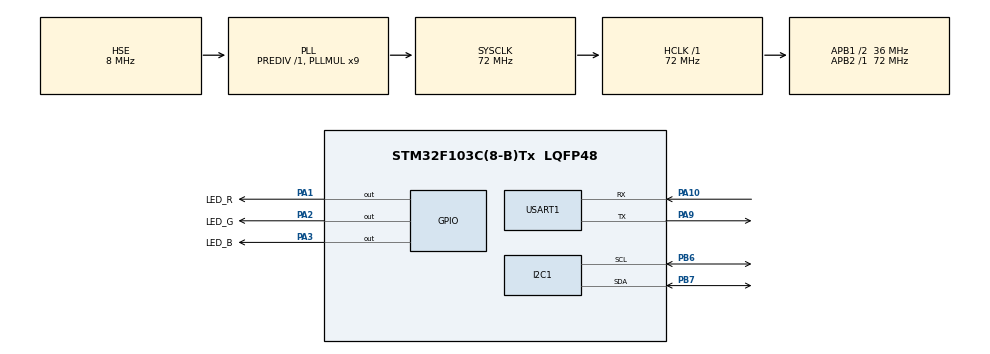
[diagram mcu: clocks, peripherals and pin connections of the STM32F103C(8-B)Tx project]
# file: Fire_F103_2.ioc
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FREERTOS.Tasks01=ledTask,0,256,StartLEDTask,Default,NULL,Dynamic,NULL,NULL;uartTask,-2,128,StartUartTask,Default,NULL,Dynamic,NULL,NULL;sensorTask,1,128,StartSensorTask,Default,NULL,Dynamic,NULL,NULL
Mcu.Family=STM32F1
Mcu.Name=STM32F103C(8-B)Tx
Mcu.Package=LQFP48
NVIC.PriorityGroup=NVIC_PRIORITYGROUP_4
PA1.GPIO_Label=LED_R
PA1.PinState=GPIO_PIN_SET
PA1.Signal=GPIO_Output
PA10.Mode=Asynchronous
PA10.Signal=USART1_RX
PA13.Mode=Serial_Wire
PA13.Signal=SYS_JTMS-SWDIO
PA14.Mode=Serial_Wire
PA14.Signal=SYS_JTCK-SWCLK
PA2.GPIO_Label=LED_G
PA2.PinState=GPIO_PIN_SET
PA2.Signal=GPIO_Output
PA3.GPIO_Label=LED_B
PA3.PinState=GPIO_PIN_SET
PA3.Signal=GPIO_Output
PA9.Mode=Asynchronous
PA9.Signal=USART1_TX
PB6.Mode=I2C
PB6.Signal=I2C1_SCL
PB7.Mode=I2C
PB7.Signal=I2C1_SDA
PC14-OSC32_IN.Mode=LSE-External-Oscillator
PC14-OSC32_IN.Signal=RCC_OSC32_IN
PC15-OSC32_OUT.Mode=LSE-External-Oscillator
PC15-OSC32_OUT.Signal=RCC_OSC32_OUT
PD0-OSC_IN.Mode=HSE-External-Oscillator
PD0-OSC_IN.Signal=RCC_OSC_IN
PD1-OSC_OUT.Mode=HSE-External-Oscillator
PD1-OSC_OUT.Signal=RCC_OSC_OUT
ProjectManager.HeapSize=0x200
ProjectManager.StackSize=0x400
ProjectManager.TargetToolchain=MDK-ARM V5.32
RCC.AHBFreq_Value=72000000
RCC.APB1CLKDivider=RCC_HCLK_DIV2
RCC.APB1Freq_Value=36000000
RCC.APB1TimFreq_Value=72000000
RCC.APB2Freq_Value=72000000
RCC.APB2TimFreq_Value=72000000
RCC.HCLKFreq_Value=72000000
RCC.PLLMUL=RCC_PLL_MUL9
RCC.PLLSourceVirtual=RCC_PLLSOURCE_HSE
RCC.SYSCLKFreq_VALUE=72000000
RCC.SYSCLKSource=RCC_SYSCLKSOURCE_PLLCLK
RCC.USBFreq_Value=72000000
USART1.VirtualMode=VM_ASYNC
VP_FREERTOS_VS_CMSIS_V1.Mode=CMSIS_V1
board=custom

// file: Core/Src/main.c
/* USER CODE BEGIN Header */
/**
  ******************************************************************************
  * @file           : main.c
  * @brief          : Main program body
  ******************************************************************************
  * @attention
  *
  * Copyright (c) 2026 STMicroelectronics.
  * All rights reserved.
  *
  * This software is licensed under terms that can be found in the LICENSE file
  * in the root directory of this software component.
  * If no LICENSE file comes with this software, it is provided AS-IS.
  *
  ******************************************************************************
  */
/* USER CODE END Header */
#include "main.h"
#include "cmsis_os.h"
#include "i2c.h"
#include "usart.h"
#include "gpio.h"

/* USER CODE BEGIN Includes */
#include "bsp_i2c_oled.h"
#include "bsp_dwt.h"
#include "bsp_dht11.h"

/* USER CODE END Includes */

/* USER CODE BEGIN PV */
volatile uint8_t g_oled_ready = 0U;

/* USER CODE END PV */

void SystemClock_Config(void);
void MX_FREERTOS_Init(void);
/* USER CODE BEGIN PFP */
static void Error_BlinkLoop(void);

/* USER CODE END PFP */

/* USER CODE BEGIN 0 */
static void Error_BlinkLoop(void)
{
//  GPIO_InitTypeDef GPIO_InitStruct = {0};

//  __HAL_RCC_GPIOA_CLK_ENABLE();
//  __HAL_RCC_GPIOC_CLK_ENABLE();

//  GPIO_InitStruct.Pin = LED_R_Pin | LED_G_Pin | LED_B_Pin;
//  GPIO_InitStruct.Mode = GPIO_MODE_OUTPUT_PP;
//  GPIO_InitStruct.Pull = GPIO_NOPULL;
//  GPIO_InitStruct.Speed = GPIO_SPEED_FREQ_LOW;
//  HAL_GPIO_Init(GPIOA, &GPIO_InitStruct);

//  GPIO_InitStruct.Pin = GPIO_PIN_13;
//  HAL_GPIO_Init(GPIOC, &GPIO_InitStruct);

  while (1)
  {
    HAL_GPIO_TogglePin(GPIOA, LED_R_Pin | LED_G_Pin | LED_B_Pin);
    HAL_GPIO_TogglePin(GPIOC, GPIO_PIN_13);
    for (volatile uint32_t delay = 0; delay < 250000U; delay++)
    {
      __NOP();
    }
	}
}

/* USER CODE END 0 */

int main(void)
{

  /* MCU Configuration--------------------------------------------------------*/

  /* Reset of all peripherals, Initializes the Flash interface and the Systick. */
  HAL_Init();

  MX_GPIO_Init();

  /* Configure the system clock */
  SystemClock_Config();

  /* Initialize all configured peripherals */
  MX_USART1_UART_Init();
  MX_I2C1_Init();
  DWT_Init();
  DHT11_GPIO_Config();
  /* USER CODE BEGIN 2 */
  if (OLED_Init() == SUCCESS)
  {
    g_oled_ready = 1U;
    OLED_ShowString_F8X16(0,0, (uint8_t*)"DHT11");
    OLED_ShowString_F8X16(1,0, (uint8_t*)"WAIT DATA");
  }
  /* USER CODE END 2 */

  /* Call init function for freertos objects (in cmsis_os2.c) */
  MX_FREERTOS_Init();

  /* Start scheduler */
  osKernelStart();

  /* We should never get here as control is now taken by the scheduler */

  /* Infinite loop */
  while (1)
  {

  }
}

void SystemClock_Config(void)
{
  RCC_OscInitTypeDef RCC_OscInitStruct = {0};
  RCC_ClkInitTypeDef RCC_ClkInitStruct = {0};

  /** Initializes the RCC Oscillators according to the specified parameters
  * in the RCC_OscInitTypeDef structure.
  */
  RCC_OscInitStruct.OscillatorType = RCC_OSCILLATORTYPE_HSE;
  RCC_OscInitStruct.HSEState = RCC_HSE_ON;
  RCC_OscInitStruct.HSEPredivValue = RCC_HSE_PREDIV_DIV1;
  RCC_OscInitStruct.HSIState = RCC_HSI_ON;
  RCC_OscInitStruct.PLL.PLLState = RCC_PLL_ON;
  RCC_OscInitStruct.PLL.PLLSource = RCC_PLLSOURCE_HSE;
  RCC_OscInitStruct.PLL.PLLMUL = RCC_PLL_MUL9;
  if (HAL_RCC_OscConfig(&RCC_OscInitStruct) == HAL_OK)
  {
    /** Initializes the CPU, AHB and APB buses clocks
    */
    RCC_ClkInitStruct.ClockType = RCC_CLOCKTYPE_HCLK|RCC_CLOCKTYPE_SYSCLK
                                |RCC_CLOCKTYPE_PCLK1|RCC_CLOCKTYPE_PCLK2;
    RCC_ClkInitStruct.SYSCLKSource = RCC_SYSCLKSOURCE_PLLCLK;
    RCC_ClkInitStruct.AHBCLKDivider = RCC_SYSCLK_DIV1;
    RCC_ClkInitStruct.APB1CLKDivider = RCC_HCLK_DIV2;
    RCC_ClkInitStruct.APB2CLKDivider = RCC_HCLK_DIV1;

    if (HAL_RCC_ClockConfig(&RCC_ClkInitStruct, FLASH_LATENCY_2) == HAL_OK)
    {
      return;
    }
  }

  HAL_RCC_DeInit();

  RCC_OscInitStruct.OscillatorType = RCC_OSCILLATORTYPE_HSI;
  RCC_OscInitStruct.HSEState = RCC_HSE_OFF;
  RCC_OscInitStruct.HSEPredivValue = RCC_HSE_PREDIV_DIV1;
  RCC_OscInitStruct.HSIState = RCC_HSI_ON;
  RCC_OscInitStruct.HSICalibrationValue = RCC_HSICALIBRATION_DEFAULT;
  RCC_OscInitStruct.PLL.PLLState = RCC_PLL_ON;
  RCC_OscInitStruct.PLL.PLLSource = RCC_PLLSOURCE_HSI_DIV2;
  RCC_OscInitStruct.PLL.PLLMUL = RCC_PLL_MUL16;
  if (HAL_RCC_OscConfig(&RCC_OscInitStruct) != HAL_OK)
  {
    Error_Handler();
  }

  RCC_ClkInitStruct.ClockType = RCC_CLOCKTYPE_HCLK|RCC_CLOCKTYPE_SYSCLK
                              |RCC_CLOCKTYPE_PCLK1|RCC_CLOCKTYPE_PCLK2;
  RCC_ClkInitStruct.SYSCLKSource = RCC_SYSCLKSOURCE_PLLCLK;
  RCC_ClkInitStruct.AHBCLKDivider = RCC_SYSCLK_DIV1;
  RCC_ClkInitStruct.APB1CLKDivider = RCC_HCLK_DIV2;
  RCC_ClkInitStruct.APB2CLKDivider = RCC_HCLK_DIV1;
  if (HAL_RCC_ClockConfig(&RCC_ClkInitStruct, FLASH_LATENCY_2) != HAL_OK)
  {
    Error_Handler();
  }
}

void Error_Handler(void)
{
  /* USER CODE BEGIN Error_Handler_Debug */
  /* User can add his own implementation to report the HAL error return state */
  __disable_irq();
  Error_BlinkLoop();
  /* USER CODE END Error_Handler_Debug */
}

#ifdef  USE_FULL_ASSERT
/**
  * @brief  Reports the name of the source file and the source line number
  *         where the assert_param error has occurred.
  * @param  file: pointer to the source file name
  * @param  line: assert_param error line source number
  * @retval None
  */
void assert_failed(uint8_t *file, uint32_t line)
{
  /* USER CODE BEGIN 6 */
  (void)file;
  (void)line;
  /* USER CODE END 6 */
}
#endif /* USE_FULL_ASSERT */

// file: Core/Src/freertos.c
/* USER CODE BEGIN Header */
/**
  ******************************************************************************
  * File Name          : freertos.c
  * Description        : Code for freertos applications
  ******************************************************************************
  * @attention
  *
  * Copyright (c) 2026 STMicroelectronics.
  * All rights reserved.
  *
  * This software is licensed under terms that can be found in the LICENSE file
  * in the root directory of this software component.
  * If no LICENSE file comes with this software, it is provided AS-IS.
  *
  ******************************************************************************
  */
/* USER CODE END Header */

#include "FreeRTOS.h"
#include "task.h"
#include "main.h"
#include "cmsis_os.h"

/* USER CODE BEGIN Includes */
#include "gpio.h"
#include "usart.h"
#include "i2c.h"
#include "bsp_i2c_oled.h"
#include <string.h>
#include <stdio.h>
#include "bsp_dht11.h"

/* USER CODE END Includes */

/* USER CODE BEGIN PTD */
	typedef struct
	{
			uint8_t temp_int;
			uint8_t temp_dec;
			uint8_t humi_int;
			uint8_t humi_dec;
			uint8_t ready;
			uint8_t valid;
			uint32_t update_count;							//记录成功采集了多少次
			uint32_t error_count;								//记录失败了多少次
	} SensorData;
/* USER CODE END PTD */

/* USER CODE BEGIN Variables */
volatile SensorData g_sensor_data = {0};
extern volatile uint8_t g_oled_ready;
static StaticTask_t ledTaskControlBlock;
static StackType_t ledTaskStack[256];
static StaticTask_t uartTaskControlBlock;
static StackType_t uartTaskStack[256];
static StaticTask_t sensorTaskControlBlock;
static StackType_t sensorTaskStack[256];
/* USER CODE END Variables */
osThreadId ledTaskHandle;
osThreadId uartTaskHandle;
osThreadId sensorTaskHandle;

/* USER CODE BEGIN FunctionPrototypes */
static void Serial_SendText(const char *text);

/* USER CODE END FunctionPrototypes */

void StartLEDTask(void const * argument);
void StartUartTask(void const * argument);
void StartSensorTask(void const * argument);

void MX_FREERTOS_Init(void); /* (MISRA C 2004 rule 8.1) */

/* GetIdleTaskMemory prototype (linked to static allocation support) */
void vApplicationGetIdleTaskMemory( StaticTask_t **ppxIdleTaskTCBBuffer, StackType_t **ppxIdleTaskStackBuffer, uint32_t *pulIdleTaskStackSize );

/* USER CODE BEGIN GET_IDLE_TASK_MEMORY */
static StaticTask_t xIdleTaskTCBBuffer;
static StackType_t xIdleStack[configMINIMAL_STACK_SIZE];

void vApplicationGetIdleTaskMemory( StaticTask_t **ppxIdleTaskTCBBuffer, StackType_t **ppxIdleTaskStackBuffer, uint32_t *pulIdleTaskStackSize )
{
  *ppxIdleTaskTCBBuffer = &xIdleTaskTCBBuffer;
  *ppxIdleTaskStackBuffer = &xIdleStack[0];
  *pulIdleTaskStackSize = configMINIMAL_STACK_SIZE;
}

static void Serial_SendText(const char *text)
{
  if (text == NULL)
  {
    return;
  }

  HAL_UART_Transmit(&huart1, (uint8_t *)text, (uint16_t)strlen(text), 100);
}
/* USER CODE END GET_IDLE_TASK_MEMORY */

void MX_FREERTOS_Init(void) {

  /* Create the thread(s) */
  /* definition and creation of sensorTask */
  osThreadStaticDef(sensorTask, StartSensorTask, osPriorityHigh, 0, 256, sensorTaskStack, &sensorTaskControlBlock);
  sensorTaskHandle = osThreadCreate(osThread(sensorTask), NULL);
  if (sensorTaskHandle == NULL)
  {
    Error_Handler();
  }

  /* definition and creation of ledTask */
  osThreadStaticDef(ledTask, StartLEDTask, osPriorityNormal, 0, 256, ledTaskStack, &ledTaskControlBlock);
  ledTaskHandle = osThreadCreate(osThread(ledTask), NULL);
  if (ledTaskHandle == NULL)
  {
    Error_Handler();
  }

  /* definition and creation of uartTask */
  osThreadStaticDef(uartTask, StartUartTask, osPriorityNormal, 0, 256, uartTaskStack, &uartTaskControlBlock);
  uartTaskHandle = osThreadCreate(osThread(uartTask), NULL);
  if (uartTaskHandle == NULL)
  {
    Error_Handler();
  }

}

void StartLEDTask(void const * argument)
{
    char temp_buf[20];
    char humi_buf[20];
		char cnt_buf[20];
		char err_buf[20];
    SensorData sensor_snapshot;

  /* USER CODE BEGIN StartLEDTask */
  (void)argument;
  /* Infinite loop */
  for(;;)
    {
        taskENTER_CRITICAL();
        sensor_snapshot.temp_int = g_sensor_data.temp_int;
        sensor_snapshot.temp_dec = g_sensor_data.temp_dec;
        sensor_snapshot.humi_int = g_sensor_data.humi_int;
        sensor_snapshot.humi_dec = g_sensor_data.humi_dec;
        sensor_snapshot.ready = g_sensor_data.ready;
        sensor_snapshot.valid = g_sensor_data.valid;
				sensor_snapshot.update_count=g_sensor_data.update_count;
				sensor_snapshot.error_count=g_sensor_data.error_count;
        taskEXIT_CRITICAL();

        HAL_GPIO_TogglePin(GPIOA, LED_R_Pin);
        HAL_GPIO_TogglePin(GPIOC, GPIO_PIN_13);

        if (g_oled_ready)
        {
            OLED_CLS();
            if (sensor_snapshot.ready == 0U)
            {
                OLED_ShowString_F8X16(0, 0, (uint8_t *)"DHT11");
                OLED_ShowString_F8X16(1, 0, (uint8_t *)"WAIT DATA");
            }
            else if (sensor_snapshot.valid)
            {
                sprintf(temp_buf, "TEMP:%d.%dC",
                        sensor_snapshot.temp_int,
                        sensor_snapshot.temp_dec);
                sprintf(humi_buf, "HUMI:%d.%d%%",
                        sensor_snapshot.humi_int,
                        sensor_snapshot.humi_dec);
							sprintf(cnt_buf,"CNT:%lu",
												sensor_snapshot.update_count);
							sprintf(err_buf,"ERR:%lu",
												sensor_snapshot.error_count);
                OLED_ShowString_F8X16(0, 0, (uint8_t *)"DHT11");
                OLED_ShowString_F8X16(1, 0, (uint8_t *)temp_buf);
                OLED_ShowString_F8X16(2, 0, (uint8_t *)humi_buf);
								OLED_ShowString_F8X16(3,0,(uint8_t*)cnt_buf);
            }
            else
            {
                OLED_ShowString_F8X16(0, 0, (uint8_t *)"DHT11");
                OLED_ShowString_F8X16(1, 0, (uint8_t *)"READ ERROR");
								OLED_ShowString_F8X16(3,0,(uint8_t*)err_buf);
            }
        }
        else
        {
            HAL_GPIO_TogglePin(GPIOA, LED_G_Pin);
        }
        osDelay(1000);
    }
  /* USER CODE END StartLEDTask */
}

void StartUartTask(void const * argument)
{
    char uart_buf[64];
    SensorData sensor_snapshot;

  /* USER CODE BEGIN StartUartTask */
  (void)argument;
  /* Infinite loop */

    for(;;)
    {
        taskENTER_CRITICAL();
        sensor_snapshot.temp_int = g_sensor_data.temp_int;
        sensor_snapshot.temp_dec = g_sensor_data.temp_dec;
        sensor_snapshot.humi_int = g_sensor_data.humi_int;
        sensor_snapshot.humi_dec = g_sensor_data.humi_dec;
        sensor_snapshot.ready = g_sensor_data.ready;
        sensor_snapshot.valid = g_sensor_data.valid;
        taskEXIT_CRITICAL();

        if (sensor_snapshot.ready != 0U)
        {
            if (sensor_snapshot.valid)
            {
							sprintf(uart_buf, "DHT11 TEMP:%d.%dC HUMI:%d.%d%%CNT:%lu\r\n",
                        sensor_snapshot.temp_int,
                        sensor_snapshot.temp_dec,
                        sensor_snapshot.humi_int,
                        sensor_snapshot.humi_dec,g_sensor_data.update_count);
            }
            else
            {
							sprintf(uart_buf, "DHT11 READ ERROR  CNT:%lu ERR:%lu \r\n",g_sensor_data.update_count,g_sensor_data.error_count);
            }

            Serial_SendText(uart_buf);
        }
        osDelay(2000);
    }

  /* USER CODE END StartUartTask */
}

void StartSensorTask(void const * argument)
{
    DHT11_DATA_TYPEDEF dht11_data;
  /* USER CODE BEGIN StartSensorTask */
  (void)argument;
  osDelay(1000);

  /* Infinite loop */
  for(;;)
  {
        if (DHT11_ReadData(&dht11_data) == HAL_OK)
        {
            taskENTER_CRITICAL();
            g_sensor_data.temp_int = dht11_data.temp_int;
            g_sensor_data.temp_dec = dht11_data.temp_deci;
            g_sensor_data.humi_int = dht11_data.humi_int;
            g_sensor_data.humi_dec = dht11_data.humi_deci;
            g_sensor_data.ready = 1;
            g_sensor_data.valid = 1;
						g_sensor_data.update_count++;
            taskEXIT_CRITICAL();
        }
        else
        {
            taskENTER_CRITICAL();
            g_sensor_data.ready = 1;
            g_sensor_data.valid = 0;
						g_sensor_data.error_count++;
            taskEXIT_CRITICAL();
        }

        osDelay(2000);
  }
  /* USER CODE END StartSensorTask */
}

/* USER CODE BEGIN Application */
void vApplicationMallocFailedHook(void)
{
  vAssertCalled("malloc", 0);
}

void vApplicationStackOverflowHook(TaskHandle_t xTask, char *pcTaskName)
{
  (void)xTask;
  (void)pcTaskName;
  vAssertCalled("stack", 0);
}

void vAssertCalled(const char *file, int line)
{
  (void)file;
  (void)line;
  taskDISABLE_INTERRUPTS();

  while (1)
  {
    HAL_GPIO_TogglePin(GPIOA, LED_R_Pin | LED_G_Pin | LED_B_Pin);
    HAL_GPIO_TogglePin(GPIOC, GPIO_PIN_13);
    for (volatile uint32_t delay = 0; delay < 250000U; delay++)
    {
      __NOP();
    }
  }
}
/* USER CODE END Application */
